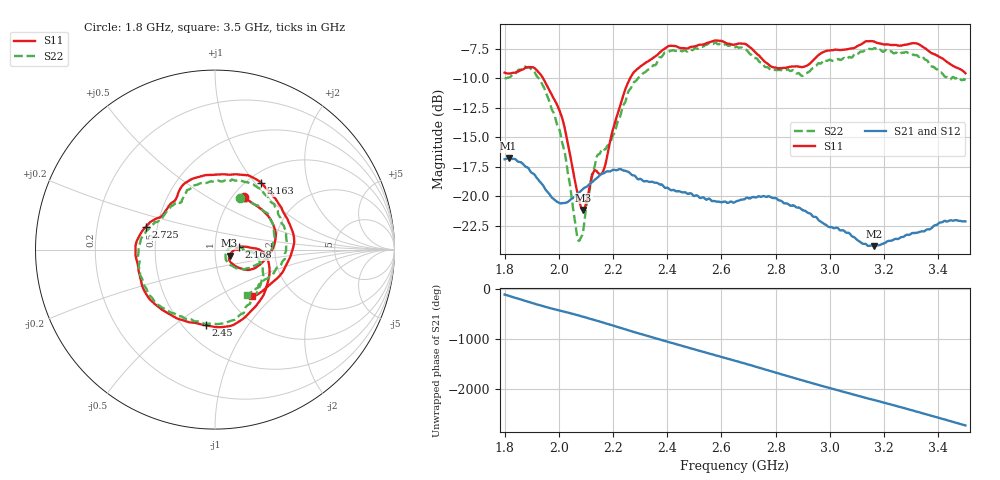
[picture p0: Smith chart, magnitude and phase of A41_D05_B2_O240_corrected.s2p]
! Created with skrf 1.9.0 (http://scikit-rf.org).
# Hz S RI R 50.0
!freq ReS11 ImS11 ReS21 ImS21 ReS12 ImS12 ReS22 ImS22
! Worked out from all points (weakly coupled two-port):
!   1601 points, 1.8 GHz to 3.5 GHz, reference 50 ohm
!   highest |S21| = -16.78 dB at 1.815 GHz (marker M1); lowest = -24.2 dB at 3.162 GHz (marker M2)
!   lowest |S11| = -21.1 dB at 2.09 GHz (marker M3), VSWR 1.19, Z = 58.7 - j3.94 ohm
!   |S11| at or under -10 dB: 1.942 GHz to 2.263 GHz (321 MHz wide, 15.3 % of centre)
!   |S22| runs from -23.8 to -7.0 dB; largest |S21 - S12| = 0.0023
!   S11 on the Smith chart (normalised r, x): 1.8 GHz: 1.12, +0.74; 2.168 GHz: 1.30, +0.03; 2.45 GHz: 0.64, -0.66; 2.725 GHz: 0.43, +0.13; 3.163 GHz: 1.15, +1.08; 3.5 GHz: 1.28, -0.75
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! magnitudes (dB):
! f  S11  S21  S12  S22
! 1.8 GHz  -9.5  -16.9  -16.9  -10.0
! 1.815 GHz  -9.6  -16.8  -16.8  -9.9
! 1.883 GHz  -9.1  -17.5  -17.5  -9.1
! 1.942 GHz  -10.0  -19.1  -19.1  -10.7
! 2.013 GHz  -13.4  -20.6  -20.6  -15.5
! 2.067 GHz  -19.5  -19.8  -19.8  -23.2
! 2.084 GHz  -21.0  -19.5  -19.4  -23.4
! 2.09 GHz  -21.1  -19.3  -19.4  -22.9
! 2.129 GHz  -17.9  -18.7  -18.6  -17.7
! 2.168 GHz  -17.6  -18.0  -18.0  -16.0
! 2.259 GHz  -10.2  -18.0  -18.0  -11.0
! 2.367 GHz  -7.9  -18.9  -18.9  -8.4
! 2.45 GHz  -7.4  -19.6  -19.6  -7.7
! 2.65 GHz  -7.1  -20.5  -20.4  -7.4
! 2.725 GHz  -7.8  -20.1  -20.1  -8.3
! 2.804 GHz  -9.1  -20.2  -20.2  -9.3
! 2.934 GHz  -8.6  -21.6  -21.5  -9.2
! 3.162 GHz  -6.9  -24.2  -24.1  -7.5
! 3.163 GHz  -6.9  -24.2  -24.2  -7.5
! 3.217 GHz  -7.1  -23.8  -23.7  -7.8
! 3.324 GHz  -7.1  -23.1  -23.0  -8.1
! 3.5 GHz  -9.6  -22.1  -22.1  -10.2
